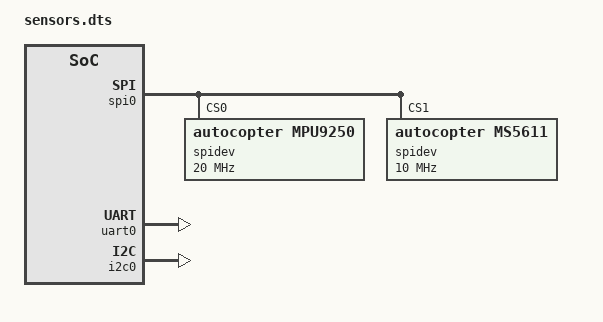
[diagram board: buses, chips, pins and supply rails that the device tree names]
/dts-v1/;
/plugin/;

/ {
    compatible = "avnet,microzed";

    /* IMU */
    fragment@0 {
        target = <&spi0>;
        __overlay__ {
            #address-cells = <1>;
            #size-cells = <0>;

            status = "okay";

            /* MPU-9250 max 20MHz */
            spidev@0{
                compatible = "autocopter,mpu9250";
                reg = <0>; /* chipselect 0 */
                spi-max-frequency= <20000000>;
            };

            /* MS5611 max 10MHz */
            spidev@1{
                compatible = "autocopter,ms5611";
                reg = <1>; /* chipselect 1 */
                spi-max-frequency= <10000000>;
            };
        };
    };

    /* Receiver UART */
    fragment@1 {
        target = <&uart0>;
        __overlay__ {
            status = "okay";
        };
    };

    /* Additional I2C for IMU */
    fragment@2 {
        target = <&i2c0>;
        __overlay__ {
            status = "okay";
        };
    };
};
